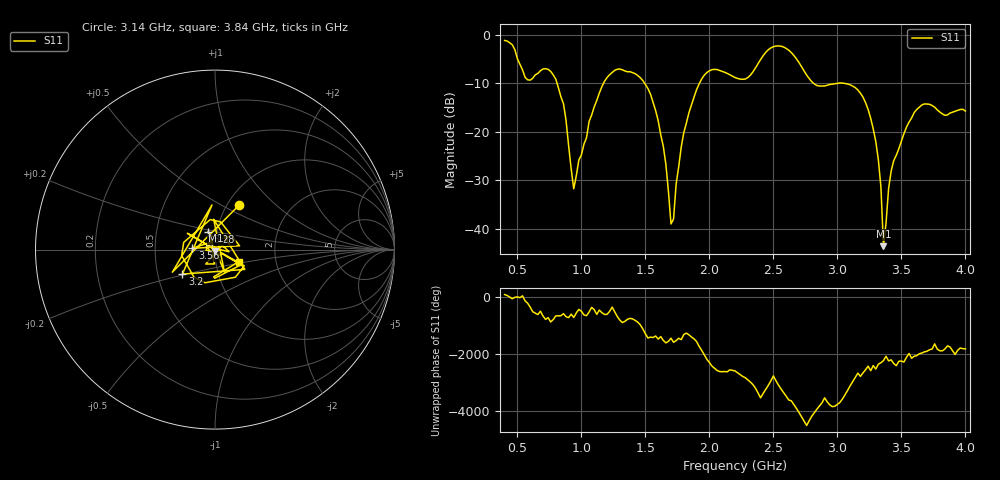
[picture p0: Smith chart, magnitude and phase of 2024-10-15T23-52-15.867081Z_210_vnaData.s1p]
! Created with skrf (http://scikit-rf.org).
# Hz S RI R 50.0
!freq ReS11 ImS11
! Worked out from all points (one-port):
!   181 points, 400 MHz to 4 GHz, reference 50 ohm
!   lowest |S11| = -43.6 dB at 3.36 GHz (marker M1), VSWR 1.01, Z = 50.2 - j0.639 ohm
!   |S11| at or under -10 dB: 809.5 MHz to 1.173 GHz (363.7 MHz wide, 36.7 % of centre); 1.493 GHz to 1.923 GHz (429.2 MHz wide, 25.1 % of centre); 3.045 GHz to end of sweep (the widest 3 of 4)
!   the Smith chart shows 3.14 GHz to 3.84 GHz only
!   S11 on the Smith chart (normalised r, x): 3.14 GHz: 1.14, +0.62; 3.2 GHz: 0.67, -0.19; 3.28 GHz: 0.91, +0.18; 3.56 GHz: 0.78, +0.01; 3.84 GHz: 1.29, -0.18
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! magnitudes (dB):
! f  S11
! 400 MHz  -1.2
! 580 MHz  -9.3
! 760 MHz  -7.6
! 860 MHz  -14.2
! 940 MHz  -31.8
! 1.14 GHz  -12.0
! 1.3 GHz  -7.1
! 1.54 GHz  -12.3
! 1.64 GHz  -23.1
! 1.7 GHz  -39.0
! 1.76 GHz  -27.2
! 1.84 GHz  -16.1
! 1.94 GHz  -9.1
! 2.2 GHz  -8.8
! 2.5 GHz  -2.5
! 2.66 GHz  -4.3
! 2.84 GHz  -10.5
! 3.1 GHz  -10.3
! 3.14 GHz  -10.9
! 3.2 GHz  -12.9
! 3.28 GHz  -19.4
! 3.34 GHz  -31.4
! 3.36 GHz  -43.6
! 3.42 GHz  -28.1
! 3.56 GHz  -18.0
! 3.68 GHz  -14.3
! 3.84 GHz  -16.6
! 4 GHz  -15.7
